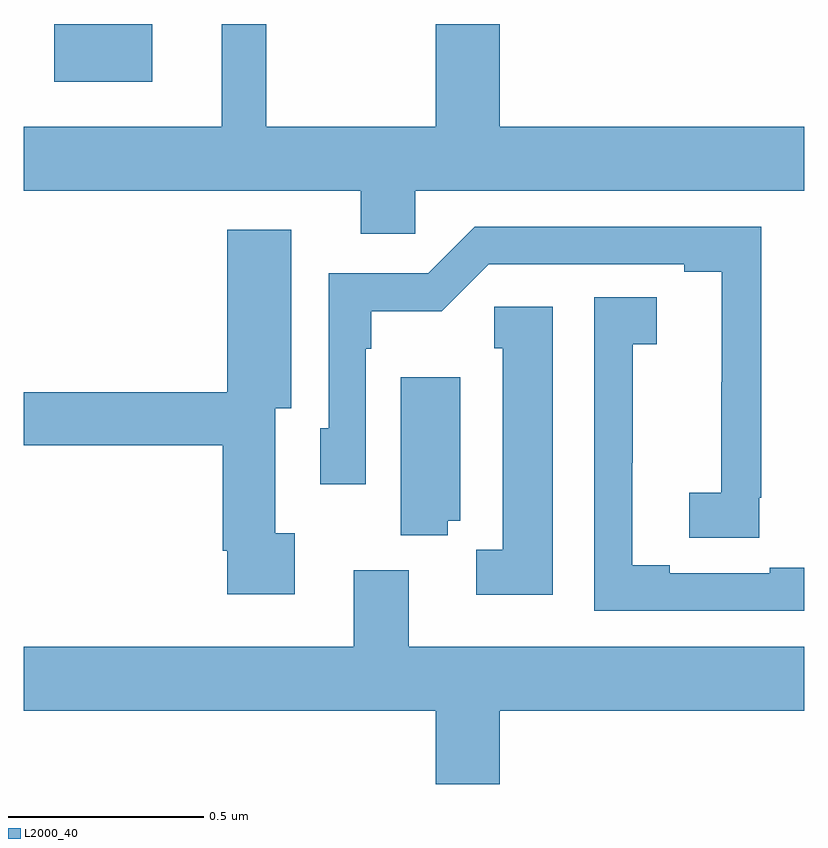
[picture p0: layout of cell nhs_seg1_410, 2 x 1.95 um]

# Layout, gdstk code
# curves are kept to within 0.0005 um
import gdstk
lib = gdstk.Library(unit=1e-6, precision=1e-09)
def R(c, l, rs):  # rectangles x0, y0, x1, y1
    for r in rs: c.add(gdstk.rectangle(r[:2], r[2:], *l))
def P(c, l, *ps):  # polygons
    for p in ps: c.add(gdstk.Polygon(p, *l))
L2000_40 = (2000, 40)

nhs_seg1_410 = lib.new_cell('nhs_seg1_410')
R(nhs_seg1_410, L2000_40, [(116.078,512.051,116.329,512.199)])
P(nhs_seg1_410, L2000_40, [(117.003,511.772),(118,511.772),(118,511.936),(117.22,511.936),(117.22,512.199),(117.056,512.199),(117.056,511.936),(116.621,511.936),(116.621,512.199),(116.507,512.199),(116.507,511.936),(116,511.936),(116,511.772),(116.864,511.772),(116.864,511.662),(117.003,511.662)],
  [(117.884,510.985),(117.89,510.985),(117.89,511.68),(117.156,511.68),(117.036,511.56),(116.781,511.56),(116.781,511.164),(116.76,511.164),(116.76,511.02),(116.877,511.02),(116.877,511.367),(116.89,511.367),(116.89,511.463),(117.071,511.463),(117.192,511.584),(117.692,511.584),(117.692,511.564),(117.788,511.564),(117.787,510.998),(117.705,510.998),(117.705,510.883),(117.884,510.883)],
  [(116.695,510.894),(116.644,510.894),(116.644,511.214),(116.686,511.214),(116.686,511.672),(116.522,511.672),(116.522,511.256),(116,511.256),(116,511.12),(116.51,511.12),(116.51,510.85),(116.522,510.85),(116.522,510.738),(116.695,510.738)],
  [(118,510.806),(117.911,510.806),(117.911,510.792),(117.655,510.792),(117.655,510.812),(117.559,510.812),(117.559,511.075),(117.561,511.075),(117.561,511.379),(117.622,511.379),(117.622,511.499),(117.462,511.499),(117.462,510.696),(118,510.696)],
  [(117.355,511.474),(117.205,511.474),(117.205,511.368),(117.227,511.368),(117.227,510.852),(117.159,510.852),(117.159,510.737),(117.355,510.737)],
  [(117.086,510.926),(117.118,510.926),(117.118,511.294),(116.966,511.294),(116.966,510.889),(117.086,510.889)],
  [(117.22,510.44),(118,510.44),(118,510.604),(116.986,510.604),(116.986,510.799),(116.846,510.799),(116.846,510.604),(116,510.604),(116,510.44),(117.056,510.44),(117.056,510.252),(117.22,510.252)])

lib.write_gds('nhs_seg1_410.gds')
